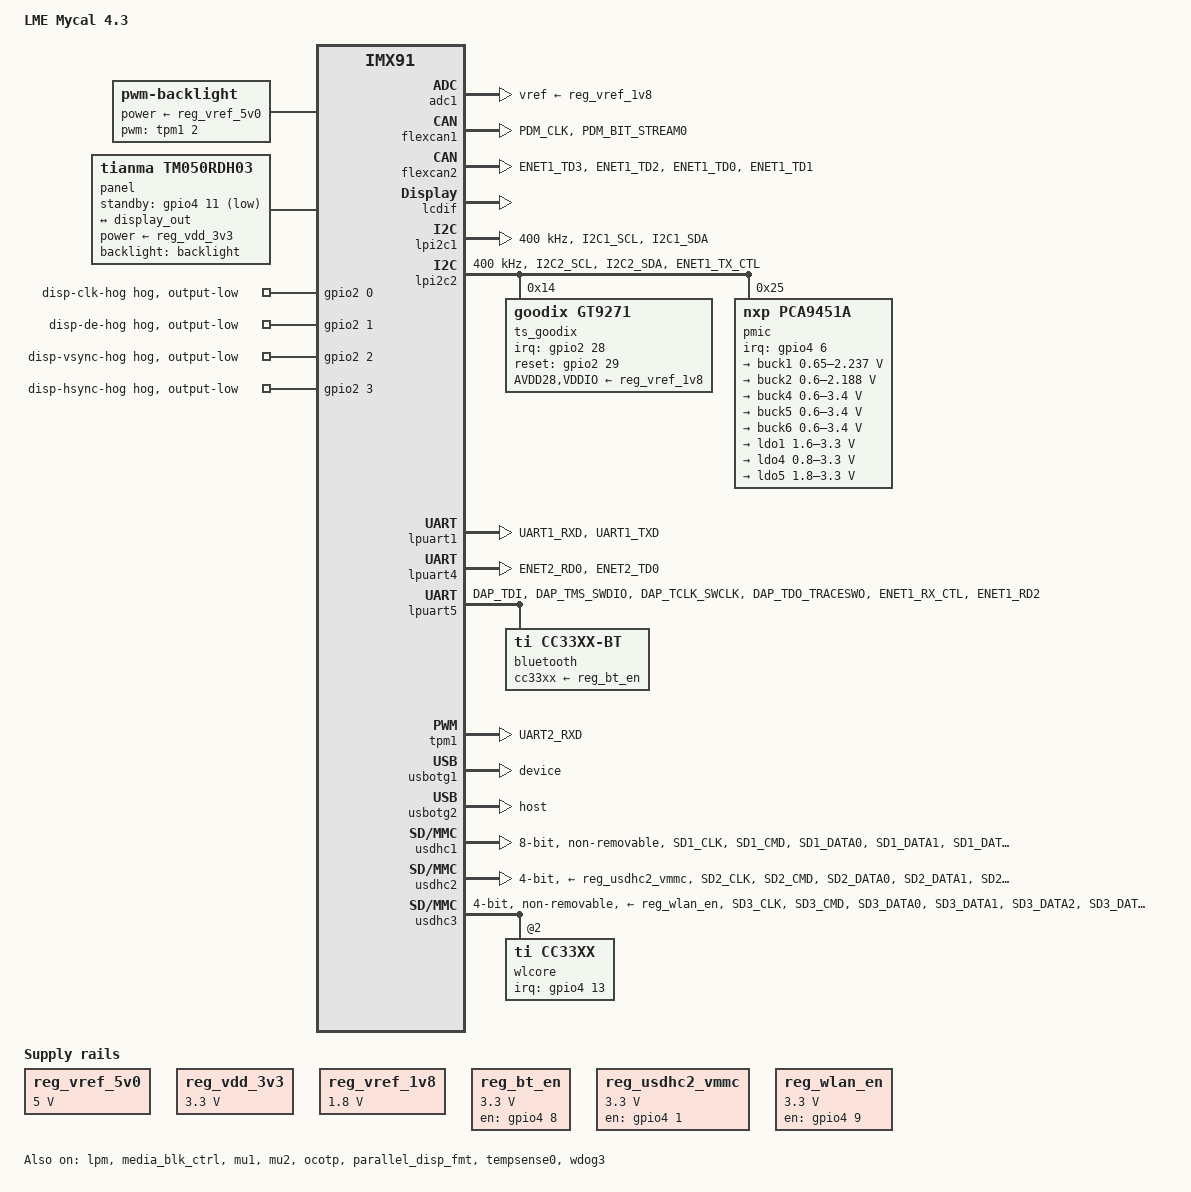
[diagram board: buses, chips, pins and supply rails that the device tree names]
// SPDX-License-Identifier: (GPL-2.0-or-later OR MIT)
/*
 * Copyright 2026 Ezurio LLC
 */

/dts-v1/;

#include <dt-bindings/usb/pd.h>
#include <dt-bindings/leds/common.h>
#include <dt-bindings/pwm/pwm.h>
#include "imx91.dtsi"

/ {
	model = "LME Mycal 4.3";
	compatible = "fsl,imx91";

	aliases {
		rtc0 = &bbnsm_rtc;
	};

	chosen {
		stdout-path = &lpuart1;
	};

	reserved-memory {
		#address-cells = <2>;
		#size-cells = <2>;
		ranges;

		linux,cma {
			compatible = "shared-dma-pool";
			reusable;
			alloc-ranges = <0 0x80000000 0 0x40000000>;
			size = <0 0x10000000>;
			linux,cma-default;
		};

		ele_reserved: ele-reserved@84120000 { /* under 512MB */
			compatible = "shared-dma-pool";
			reg = <0 0x84120000 0 0x100000>; /* 1MB Region */
			no-map;
		};
	};

	backlight: backlight {
		compatible = "pwm-backlight";
		pwms = <&tpm1 2 10000000 PWM_POLARITY_INVERTED>;	/* LCD1_BKLT_PWM 100Hz PWM */
		brightness-levels = <0 800 1000 3000 8000 16000 25000 40000 65535>;
		default-brightness-level = <8>;
		power-supply = <&reg_vref_5v0>;
	};

	panel {
		compatible = "tianma,tm050rdh03";
		backlight = <&backlight>;
		power-supply = <&reg_vdd_3v3>;
		pinctrl-names = "default";
		pinctrl-0 = <&pinctrl_lcd1_gpio>;
		standby-gpios = <&gpio4 11 GPIO_ACTIVE_LOW>;    /* LCD_RSTn */

		port {
			panel_in: endpoint {
				remote-endpoint = <&display_out>;
			};
		};
	};

	reg_vref_5v0: regulator-5v0 {
		compatible = "regulator-fixed";
		regulator-name = "VDD_5V0";
		regulator-min-microvolt = <5000000>;
		regulator-max-microvolt = <5000000>;
	};

	reg_vdd_3v3: regulator-vdd {
		compatible = "regulator-fixed";
		regulator-name = "VDD_3V3";
		regulator-min-microvolt = <3300000>;
		regulator-max-microvolt = <3300000>;
	};

	reg_vref_1v8: regulator-adc-vref {
		compatible = "regulator-fixed";
		regulator-name = "vref_1v8";
		regulator-min-microvolt = <1800000>;
		regulator-max-microvolt = <1800000>;
	};

	reg_bt_en: regulator-wlan-en {
		compatible = "regulator-fixed";
		regulator-name = "reg_bt_en";
		regulator-min-microvolt = <3300000>;
		regulator-max-microvolt = <3300000>;
		gpio = <&gpio4 8 GPIO_ACTIVE_HIGH>;
		startup-delay-us = <70000>;
		enable-active-high;
	};

	reg_usdhc2_vmmc: regulator-usdhc2 {
		compatible = "regulator-fixed";
		pinctrl-names = "default";
		pinctrl-0 = <&pinctrl_reg_usdhc2_vmmc>;
		regulator-name = "VSD_3V3";
		regulator-min-microvolt = <3300000>;
		regulator-max-microvolt = <3300000>;
		gpio = <&gpio4 1 GPIO_ACTIVE_HIGH>;
		off-on-delay-us = <12000>;
		enable-active-high;
	};

	reg_wlan_en: regulator-wlan-en {
		compatible = "regulator-fixed";
		pinctrl-names = "default";
		pinctrl-0 = <&pinctrl_reg_wlan_en>;
		regulator-name = "reg_wlan_en";
		regulator-min-microvolt = <3300000>;
		regulator-max-microvolt = <3300000>;
		gpio = <&gpio4 9 GPIO_ACTIVE_HIGH>; /* WL_EN */
		startup-delay-us = <70000>;
		enable-active-high;
	};
};

&adc1 {
	vref-supply = <&reg_vref_1v8>;
	status = "okay";
};

&ele_fw2 {
	memory-region = <&ele_reserved>;
};

&flexcan1 { /* CAN0 */
	pinctrl-names = "default";
	pinctrl-0 = <&pinctrl_can1>;
	status = "okay";
};

&flexcan2 { /* CAN1 / SWCAN */
	pinctrl-names = "default";
	pinctrl-0 = <&pinctrl_can2>, <&pinctrl_can2_gpio>;
	status = "okay";
};

&gpio1 {
	gpio-line-names = "", "", "", "", "",					/* 0-4 */
			"", "", "", "", "",					/* 5-9 */
			"VPP_EN", "", "", "", "",				/* 10-14 */
			"", "", "", "", "",					/* 15-19 */
			"", "", "", "", "",					/* 20-24 */
			"", "", "", "", "";					/* 25-29 */
};

&gpio2 {
	gpio-line-names = "", "", "", "", "",					/* 0-4 */
			"", "", "", "", "",					/* 5-9 */
			"", "", "", "", "",					/* 10-14 */
			"", "", "", "", "",					/* 15-19 */
			"", "", "", "", "",					/* 20-24 */
			"", "", "", "CTP_nINT", "CTP_RST";			/* 25-29 */

	/* avoid power leakage */
	disp-clk-hog {
		gpio-hog;
		gpios = <0 GPIO_ACTIVE_HIGH>;
		output-low;
	};

	disp-de-hog {
		gpio-hog;
		gpios = <1 GPIO_ACTIVE_HIGH>;
		output-low;
	};

	disp-vsync-hog {
		gpio-hog;
		gpios = <2 GPIO_ACTIVE_HIGH>;
		output-low;
	};

	disp-hsync-hog {
		gpio-hog;
		gpios = <3 GPIO_ACTIVE_HIGH>;
		output-low;
	};
};

&gpio4 {
	gpio-line-names = "", "SDIO_PWR_EN", "", "", "SWCAN_MODE1",		/* 0-4 */
			"SWCAN_MODE0", "PMIC_IRQ", "LCD_CS", "BT_EN", "WL_EN",	/* 5-9 */
			"CAN_UART_SEL", "LCD_RSTn", "BT_HOST_WAKE", "WIFI_SDIO_WAKE", "", /* 10-14 */
			"", "", "", "", "",					/* 15-19 */
			"", "", "", "", "",					/* 20-24 */
			"", "", "", "", "";					/* 25-29 */

};

&iomuxc {
	pinctrl-names = "default";
	pinctrl-0 = <&pinctrl_hog>;

	pinctrl_can1: can1grp {
		fsl,pins = <
			MX91_PAD_PDM_CLK__CAN1_TX			0x139e /* CAN0_TX */
			MX91_PAD_PDM_BIT_STREAM0__CAN1_RX		0x139e /* CAN0_RX */
		>;
	};

	pinctrl_can2: can2grp {
		fsl,pins = <
			MX91_PAD_ENET1_TD3__CAN2_TX			0x139e /* CAN1_TX */
			MX91_PAD_ENET1_TD2__CAN2_RX			0x139e /* CAN1_RX */
		>;
	};

	pinctrl_can2_gpio: can2grp {
		fsl,pins = <
			MX91_PAD_ENET1_TD0__GPIO4_IO5			0x31e /* SWCAN_MODE0 */
			MX91_PAD_ENET1_TD1__GPIO4_IO4			0x31e /* SWCAN_MODE1 */
		>;
	};

	pinctrl_hog: hoggrp {
		fsl,pins = <
			MX91_PAD_ENET1_RD0__GPIO4_IO10			0x31e /* CAN_UART_SEL */
			MX91_PAD_PDM_BIT_STREAM1__GPIO1_IO10		0x31e /* VPP_EN */
		>;
	};

	pinctrl_lcdif: lcdifgrp {
		fsl,pins = <
			MX91_PAD_GPIO_IO00__MEDIAMIX_DISP_CLK		0x31e
			MX91_PAD_GPIO_IO01__MEDIAMIX_DISP_DE		0x31e
			MX91_PAD_GPIO_IO02__MEDIAMIX_DISP_VSYNC		0x31e
			MX91_PAD_GPIO_IO03__MEDIAMIX_DISP_HSYNC		0x31e
			MX91_PAD_GPIO_IO04__MEDIAMIX_DISP_DATA0		0x31e
			MX91_PAD_GPIO_IO05__MEDIAMIX_DISP_DATA1		0x31e
			MX91_PAD_GPIO_IO06__MEDIAMIX_DISP_DATA2		0x31e
			MX91_PAD_GPIO_IO07__MEDIAMIX_DISP_DATA3		0x31e
			MX91_PAD_GPIO_IO08__MEDIAMIX_DISP_DATA4		0x31e
			MX91_PAD_GPIO_IO09__MEDIAMIX_DISP_DATA5		0x31e
			MX91_PAD_GPIO_IO10__MEDIAMIX_DISP_DATA6		0x31e
			MX91_PAD_GPIO_IO11__MEDIAMIX_DISP_DATA7		0x31e
			MX91_PAD_GPIO_IO12__MEDIAMIX_DISP_DATA8		0x31e
			MX91_PAD_GPIO_IO13__MEDIAMIX_DISP_DATA9		0x31e
			MX91_PAD_GPIO_IO14__MEDIAMIX_DISP_DATA10	0x31e
			MX91_PAD_GPIO_IO15__MEDIAMIX_DISP_DATA11	0x31e
			MX91_PAD_GPIO_IO16__MEDIAMIX_DISP_DATA12	0x31e
			MX91_PAD_GPIO_IO17__MEDIAMIX_DISP_DATA13	0x31e
			MX91_PAD_GPIO_IO18__MEDIAMIX_DISP_DATA14	0x31e
			MX91_PAD_GPIO_IO19__MEDIAMIX_DISP_DATA15	0x31e
			MX91_PAD_GPIO_IO20__MEDIAMIX_DISP_DATA16	0x31e
			MX91_PAD_GPIO_IO21__MEDIAMIX_DISP_DATA17	0x31e
			MX91_PAD_GPIO_IO22__MEDIAMIX_DISP_DATA18	0x31e
			MX91_PAD_GPIO_IO23__MEDIAMIX_DISP_DATA19	0x31e
			MX91_PAD_GPIO_IO24__MEDIAMIX_DISP_DATA20	0x31e
			MX91_PAD_GPIO_IO25__MEDIAMIX_DISP_DATA21	0x31e
			MX91_PAD_GPIO_IO26__MEDIAMIX_DISP_DATA22	0x31e
			MX91_PAD_GPIO_IO27__MEDIAMIX_DISP_DATA23	0x31e
		>;
	};

	pinctrl_lcdif_gpio: lcdifgpiogrp {
		fsl,pins = <
			MX91_PAD_GPIO_IO00__GPIO2_IO0			0x51e
			MX91_PAD_GPIO_IO01__GPIO2_IO1			0x51e
			MX91_PAD_GPIO_IO02__GPIO2_IO2			0x51e
			MX91_PAD_GPIO_IO03__GPIO2_IO3			0x51e
			MX91_PAD_GPIO_IO04__GPIO2_IO4			0x51e
			MX91_PAD_GPIO_IO05__GPIO2_IO5			0x51e
			MX91_PAD_GPIO_IO06__GPIO2_IO6			0x51e
			MX91_PAD_GPIO_IO07__GPIO2_IO7			0x51e
			MX91_PAD_GPIO_IO08__GPIO2_IO8			0x51e
			MX91_PAD_GPIO_IO09__GPIO2_IO9			0x51e
			MX91_PAD_GPIO_IO10__GPIO2_IO10			0x51e
			MX91_PAD_GPIO_IO11__GPIO2_IO11			0x51e
			MX91_PAD_GPIO_IO12__GPIO2_IO12			0x51e
			MX91_PAD_GPIO_IO13__GPIO2_IO13			0x51e
			MX91_PAD_GPIO_IO14__GPIO2_IO14			0x51e
			MX91_PAD_GPIO_IO15__GPIO2_IO15			0x51e
			MX91_PAD_GPIO_IO16__GPIO2_IO16			0x51e
			MX91_PAD_GPIO_IO17__GPIO2_IO17			0x51e
			MX91_PAD_GPIO_IO18__GPIO2_IO18			0x51e
			MX91_PAD_GPIO_IO19__GPIO2_IO19			0x51e
			MX91_PAD_GPIO_IO20__GPIO2_IO20			0x51e
			MX91_PAD_GPIO_IO21__GPIO2_IO21			0x51e
			MX91_PAD_GPIO_IO22__GPIO2_IO22			0x51e
			MX91_PAD_GPIO_IO23__GPIO2_IO23			0x51e
			MX91_PAD_GPIO_IO24__GPIO2_IO24			0x51e
			MX91_PAD_GPIO_IO25__GPIO2_IO25			0x51e
			MX91_PAD_GPIO_IO26__GPIO2_IO26			0x51e
			MX91_PAD_GPIO_IO27__GPIO2_IO27			0x51e
		>;
	};

	pinctrl_lcd1_gpio: lcd1gpiogrp {
		fsl,pins = <
			MX91_PAD_ENET1_RD1__GPIO4_IO11			0x31e /* LCD_RSTn */
			MX91_PAD_ENET1_TXC__GPIO4_IO7			0x31e /* LCD_CS / CS_ID1 */
		>;
	};

	pinctrl_lcd1_pwm: lcd1pwmgrp {
		fsl,pins = <
			MX91_PAD_UART2_RXD__TPM1_CH2			0x31e /* LCD1_BKLT_PWM */
		>;
	};

	pinctrl_lpi2c1: lpi2c1grp {
		fsl,pins = <
			MX91_PAD_I2C1_SCL__LPI2C1_SCL				0x40000b9e /* SCK_ID3 */
			MX91_PAD_I2C1_SDA__LPI2C1_SDA				0x40000b9e /* SDIN_ID2 */
		>;
	};

	pinctrl_lpi2c2: lpi2c2grp {
		fsl,pins = <
			MX91_PAD_I2C2_SCL__LPI2C2_SCL			0x40000b9e
			MX91_PAD_I2C2_SDA__LPI2C2_SDA			0x40000b9e
			MX91_PAD_ENET1_TX_CTL__GPIO4_IO6		0x31e
		>;
	};

	pinctrl_reg_usdhc2_vmmc: regusdhc2vmmcgrp {
		fsl,pins = <
			MX91_PAD_ENET1_MDIO__GPIO4_IO1			0x31e /* SDIO_PWR_EN */
		>;
	};

	pinctrl_reg_wlan_en: regwlanengrp {
		fsl,pins = <
			MX91_PAD_ENET1_RXC__GPIO4_IO9			0x31e /* WL_EN */
		>;
	};

	pinctrl_ts: tsgrp {
		fsl,pins = <
			MX91_PAD_GPIO_IO28__GPIO2_IO28			0x31e /* CTP_nINT */
			MX91_PAD_GPIO_IO29__GPIO2_IO29			0x31e /* CTP_RST */
		>;
	};

	pinctrl_uart1: uart1grp {
		fsl,pins = <
			MX91_PAD_UART1_RXD__LPUART1_RX			0x31e
			MX91_PAD_UART1_TXD__LPUART1_TX			0x31e
		>;
	};

	pinctrl_uart4: uart4grp {
		fsl,pins = <
			MX91_PAD_ENET2_RD0__LPUART4_RX			0x31e
			MX91_PAD_ENET2_TD0__LPUART4_TX			0x31e
		>;
	};

	pinctrl_uart5: uart5grp {
		fsl,pins = <
			MX91_PAD_DAP_TDI__LPUART5_RX			0x31e
			MX91_PAD_DAP_TMS_SWDIO__LPUART5_RTS_B		0x31e
			MX91_PAD_DAP_TCLK_SWCLK__LPUART5_CTS_B		0x31e
			MX91_PAD_DAP_TDO_TRACESWO__LPUART5_TX		0x31e

			MX91_PAD_ENET1_RX_CTL__GPIO4_IO8		0x31e
			MX91_PAD_ENET1_RD2__GPIO4_IO12			0x31e
		>;
	};

	pinctrl_usdhc1: usdhc1grp {
		fsl,pins = <
			MX91_PAD_SD1_CLK__USDHC1_CLK			0x1582
			MX91_PAD_SD1_CMD__USDHC1_CMD			0x1382
			MX91_PAD_SD1_DATA0__USDHC1_DATA0		0x1382
			MX91_PAD_SD1_DATA1__USDHC1_DATA1		0x1382
			MX91_PAD_SD1_DATA2__USDHC1_DATA2		0x1382
			MX91_PAD_SD1_DATA3__USDHC1_DATA3		0x1382
			MX91_PAD_SD1_DATA4__USDHC1_DATA4		0x1382
			MX91_PAD_SD1_DATA5__USDHC1_DATA5		0x1382
			MX91_PAD_SD1_DATA6__USDHC1_DATA6		0x1382
			MX91_PAD_SD1_DATA7__USDHC1_DATA7		0x1382
			MX91_PAD_SD1_STROBE__USDHC1_STROBE		0x1582
		>;
	};

	pinctrl_usdhc1_100mhz: usdhc1-100mhzgrp {
		fsl,pins = <
			MX91_PAD_SD1_CLK__USDHC1_CLK			0x158e
			MX91_PAD_SD1_CMD__USDHC1_CMD			0x138e
			MX91_PAD_SD1_DATA0__USDHC1_DATA0		0x138e
			MX91_PAD_SD1_DATA1__USDHC1_DATA1		0x138e
			MX91_PAD_SD1_DATA2__USDHC1_DATA2		0x138e
			MX91_PAD_SD1_DATA3__USDHC1_DATA3		0x138e
			MX91_PAD_SD1_DATA4__USDHC1_DATA4		0x138e
			MX91_PAD_SD1_DATA5__USDHC1_DATA5		0x138e
			MX91_PAD_SD1_DATA6__USDHC1_DATA6		0x138e
			MX91_PAD_SD1_DATA7__USDHC1_DATA7		0x138e
			MX91_PAD_SD1_STROBE__USDHC1_STROBE		0x158e
		>;
	};

	pinctrl_usdhc1_200mhz: usdhc1-200mhzgrp {
		fsl,pins = <
			MX91_PAD_SD1_CLK__USDHC1_CLK			0x15fe
			MX91_PAD_SD1_CMD__USDHC1_CMD			0x13fe
			MX91_PAD_SD1_DATA0__USDHC1_DATA0		0x13fe
			MX91_PAD_SD1_DATA1__USDHC1_DATA1		0x13fe
			MX91_PAD_SD1_DATA2__USDHC1_DATA2		0x13fe
			MX91_PAD_SD1_DATA3__USDHC1_DATA3		0x13fe
			MX91_PAD_SD1_DATA4__USDHC1_DATA4		0x13fe
			MX91_PAD_SD1_DATA5__USDHC1_DATA5		0x13fe
			MX91_PAD_SD1_DATA6__USDHC1_DATA6		0x13fe
			MX91_PAD_SD1_DATA7__USDHC1_DATA7		0x13fe
			MX91_PAD_SD1_STROBE__USDHC1_STROBE		0x15fe
		>;
	};

	pinctrl_usdhc2_gpio: usdhc2gpiogrp {
		fsl,pins = <
			MX91_PAD_SD2_CD_B__GPIO3_IO0			0x31e /* SD2_CD */
		>;
	};

	pinctrl_usdhc2: usdhc2grp {
		fsl,pins = <
			MX91_PAD_SD2_CLK__USDHC2_CLK			0x1582
			MX91_PAD_SD2_CMD__USDHC2_CMD			0x1382
			MX91_PAD_SD2_DATA0__USDHC2_DATA0		0x1382
			MX91_PAD_SD2_DATA1__USDHC2_DATA1		0x1382
			MX91_PAD_SD2_DATA2__USDHC2_DATA2		0x1382
			MX91_PAD_SD2_DATA3__USDHC2_DATA3		0x1382
			MX91_PAD_SD2_VSELECT__USDHC2_VSELECT		0x51e
		>;
	};

	pinctrl_usdhc2_100mhz: usdhc2-100mhzgrp {
		fsl,pins = <
			MX91_PAD_SD2_CLK__USDHC2_CLK			0x158e
			MX91_PAD_SD2_CMD__USDHC2_CMD			0x138e
			MX91_PAD_SD2_DATA0__USDHC2_DATA0		0x138e
			MX91_PAD_SD2_DATA1__USDHC2_DATA1		0x138e
			MX91_PAD_SD2_DATA2__USDHC2_DATA2		0x138e
			MX91_PAD_SD2_DATA3__USDHC2_DATA3		0x138e
			MX91_PAD_SD2_VSELECT__USDHC2_VSELECT		0x51e
		>;
	};

	pinctrl_usdhc2_200mhz: usdhc2-200mhzgrp {
		fsl,pins = <
			MX91_PAD_SD2_CLK__USDHC2_CLK			0x15fe
			MX91_PAD_SD2_CMD__USDHC2_CMD			0x13fe
			MX91_PAD_SD2_DATA0__USDHC2_DATA0		0x13fe
			MX91_PAD_SD2_DATA1__USDHC2_DATA1		0x13fe
			MX91_PAD_SD2_DATA2__USDHC2_DATA2		0x13fe
			MX91_PAD_SD2_DATA3__USDHC2_DATA3		0x13fe
			MX91_PAD_SD2_VSELECT__USDHC2_VSELECT		0x51e
		>;
	};

	pinctrl_wlcore: wlcoregrp {
		fsl,pins = <
			MX91_PAD_ENET1_RD3__GPIO4_IO13			0x31e /* WIFI_SDIO_WAKE */
		>;
	};

	pinctrl_usdhc3: usdhc3grp {
		fsl,pins = <
			MX91_PAD_SD3_CLK__USDHC3_CLK			0x1582
			MX91_PAD_SD3_CMD__USDHC3_CMD			0x1382
			MX91_PAD_SD3_DATA0__USDHC3_DATA0		0x1382
			MX91_PAD_SD3_DATA1__USDHC3_DATA1		0x1382
			MX91_PAD_SD3_DATA2__USDHC3_DATA2		0x1382
			MX91_PAD_SD3_DATA3__USDHC3_DATA3		0x1382
		>;
	};

	pinctrl_usdhc3_100mhz: usdhc3-100mhzgrp {
		fsl,pins = <
			MX91_PAD_SD3_CLK__USDHC3_CLK			0x158e
			MX91_PAD_SD3_CMD__USDHC3_CMD			0x138e
			MX91_PAD_SD3_DATA0__USDHC3_DATA0		0x138e
			MX91_PAD_SD3_DATA1__USDHC3_DATA1		0x138e
			MX91_PAD_SD3_DATA2__USDHC3_DATA2		0x138e
			MX91_PAD_SD3_DATA3__USDHC3_DATA3		0x138e
		>;
	};

	pinctrl_usdhc3_200mhz: usdhc3-200mhzgrp {
		fsl,pins = <
			MX91_PAD_SD3_CLK__USDHC3_CLK			0x15fe
			MX91_PAD_SD3_CMD__USDHC3_CMD			0x13fe
			MX91_PAD_SD3_DATA0__USDHC3_DATA0		0x13fe
			MX91_PAD_SD3_DATA1__USDHC3_DATA1		0x13fe
			MX91_PAD_SD3_DATA2__USDHC3_DATA2		0x13fe
			MX91_PAD_SD3_DATA3__USDHC3_DATA3		0x13fe
		>;
	};
};

&lcdif {
	assigned-clock-rates = <300000000>, <30000000>, <333333334>, <133333333>;
	status = "okay";
};

&lpi2c1 { /* LCD I2C */
	#address-cells = <1>;
	#size-cells = <0>;
	clock-frequency = <400000>;
	pinctrl-names = "default", "sleep";
	pinctrl-0 = <&pinctrl_lpi2c1>;
	pinctrl-1 = <&pinctrl_lpi2c1>;
	status = "okay";
};

&lpi2c2 {
	#address-cells = <1>;
	#size-cells = <0>;
	clock-frequency = <400000>;
	pinctrl-names = "default", "sleep";
	pinctrl-0 = <&pinctrl_lpi2c2>;
	pinctrl-1 = <&pinctrl_lpi2c2>;
	status = "okay";

	/* TODO CTP / Touch */
	/* 0x5d or 0x14 */
	ts_goodix: touchscreen@14 {
		compatible = "goodix,gt9271";
		pinctrl-names = "default";
		pinctrl-0 = <&pinctrl_ts>;
		AVDD28-supply = <&reg_vref_1v8>; /* Real supply is on the display */
		VDDIO-supply = <&reg_vref_1v8>;
		esd-recovery-timeout-ms = <2000>;
		interrupts-extended = <&gpio2 28 IRQ_TYPE_EDGE_RISING>;
		irq-gpios = <&gpio2 28 GPIO_ACTIVE_HIGH>; /* CTP_nINT */
		reg = <0x14>;
		reset-gpios = <&gpio2 29 GPIO_ACTIVE_HIGH>; /* CTP_RST */
		status = "okay";
	};

	pmic@25 { /* PMIC */
		compatible = "nxp,pca9451a";
		reg = <0x25>;
		interrupt-parent = <&gpio4>;
		interrupts = <6 IRQ_TYPE_EDGE_FALLING>;

		regulators {
			buck1: BUCK1 {
				regulator-name = "BUCK1";
				regulator-min-microvolt = <650000>;
				regulator-max-microvolt = <2237500>;
				regulator-boot-on;
				regulator-always-on;
				regulator-ramp-delay = <3125>;
			};

			buck2: BUCK2 {
				regulator-name = "BUCK2";
				regulator-min-microvolt = <600000>;
				regulator-max-microvolt = <2187500>;
				regulator-boot-on;
				regulator-always-on;
				regulator-ramp-delay = <3125>;
			};

			buck4: BUCK4{
				regulator-name = "BUCK4";
				regulator-min-microvolt = <600000>;
				regulator-max-microvolt = <3400000>;
				regulator-boot-on;
				regulator-always-on;
			};

			buck5: BUCK5{
				regulator-name = "BUCK5";
				regulator-min-microvolt = <600000>;
				regulator-max-microvolt = <3400000>;
				regulator-boot-on;
				regulator-always-on;
			};

			buck6: BUCK6 {
				regulator-name = "BUCK6";
				regulator-min-microvolt = <600000>;
				regulator-max-microvolt = <3400000>;
				regulator-boot-on;
				regulator-always-on;
			};

			ldo1: LDO1 {
				regulator-name = "LDO1";
				regulator-min-microvolt = <1600000>;
				regulator-max-microvolt = <3300000>;
				regulator-boot-on;
				regulator-always-on;
			};

			ldo4: LDO4 {
				regulator-name = "LDO4";
				regulator-min-microvolt = <800000>;
				regulator-max-microvolt = <3300000>;
				regulator-boot-on;
				regulator-always-on;
			};

			ldo5: LDO5 {
				regulator-name = "LDO5";
				regulator-min-microvolt = <1800000>;
				regulator-max-microvolt = <3300000>;
				regulator-boot-on;
				regulator-always-on;
			};
		};
	};
};

&lpm {
	soc-supply = <&buck1>;
	status = "okay";
};

&lpuart1 { /* console / debug */
	pinctrl-names = "default";
	pinctrl-0 = <&pinctrl_uart1>;
	status = "okay";
};

&lpuart4 { /* UART on CAN */
	pinctrl-names = "default";
	pinctrl-0 = <&pinctrl_uart4>;
	status = "okay";
};

&lpuart5 {
	/* BT */
	pinctrl-names = "default";
	pinctrl-0 = <&pinctrl_uart5>;
	interrupts-extended = <&gpio4 12 IRQ_TYPE_EDGE_FALLING>; /* BT_HOST_WAKE */
	uart-has-rtscts;
	status = "okay";

	bluetooth {
		compatible = "ti,cc33xx-bt";
		cc33xx-supply = <&reg_bt_en>;
		max-speed = <115200>;
	};
};

&media_blk_ctrl {
	status = "okay";
};

&mu1 {
	status = "okay";
};

&mu2 {
	status = "okay";
};

&ocotp {
	status = "okay";
};

&parallel_disp_fmt {
	pinctrl-names = "default", "gpio";
	pinctrl-0 = <&pinctrl_lcdif>;
	pinctrl-1 = <&pinctrl_lcdif_gpio>;
	fsl,interface-pix-fmt = "rgb888";
	status = "okay";

	ports {
		port@1 {
			reg = <1>;

			display_out: endpoint {
				remote-endpoint = <&panel_in>;
			};
		};
	};
};

&tempsense0 {
	status = "okay";
};

&tpm1 { /* LCD1_BKLT_PWM */
	pinctrl-names = "default";
	pinctrl-0 = <&pinctrl_lcd1_pwm>;
	status = "okay";
};

&usbotg1 { /* USB-C Device */
	dr_mode = "device";
	samsung,picophy-pre-emp-curr-control = <3>;
	samsung,picophy-dc-vol-level-adjust = <7>;
	status = "okay";
};

&usbotg2 { /* USB-A Host */
	dr_mode = "host";
	samsung,picophy-pre-emp-curr-control = <3>;
	samsung,picophy-dc-vol-level-adjust = <7>;
	status = "okay";
};

&usdhc1 { /* eMMC */
	pinctrl-names = "default", "state_100mhz", "state_200mhz";
	pinctrl-0 = <&pinctrl_usdhc1>;
	pinctrl-1 = <&pinctrl_usdhc1_100mhz>;
	pinctrl-2 = <&pinctrl_usdhc1_200mhz>;
	bus-width = <8>;
	non-removable;
	status = "okay";
};

&usdhc2 { /* SDCARD */
	pinctrl-names = "default", "state_100mhz", "state_200mhz";
	pinctrl-0 = <&pinctrl_usdhc2>, <&pinctrl_usdhc2_gpio>;
	pinctrl-1 = <&pinctrl_usdhc2_100mhz>, <&pinctrl_usdhc2_gpio>;
	pinctrl-2 = <&pinctrl_usdhc2_200mhz>, <&pinctrl_usdhc2_gpio>;
	cd-gpios = <&gpio3 00 GPIO_ACTIVE_LOW>; /* SD2_CD */
	fsl,cd-gpio-wakeup-disable;
	vmmc-supply = <&reg_usdhc2_vmmc>;
	bus-width = <4>;
	no-sdio;
	no-mmc;
	status = "okay";
};

&usdhc3 { /* WiFi / Bluetooth */
	pinctrl-names = "default", "state_100mhz", "state_200mhz";
	pinctrl-0 = <&pinctrl_usdhc3>;
	pinctrl-1 = <&pinctrl_usdhc3_100mhz>;
	pinctrl-2 = <&pinctrl_usdhc3_200mhz>;
	max-frequency = <50000000>;
	bus-width = <4>;
	cap-power-off-card;
	keep-power-in-suspend;
	non-removable;
	wakeup-source;
	pm-ignore-notify;
	voltage-ranges = <1800 1800>;
	fsl,tuning-start-tap = <20>;
	fsl,tuning-step= <2>;
	vmmc-supply = <&reg_wlan_en>;
	vqmmc-1-8-v;
	vqmmc-supply = <&reg_vref_1v8>;
	status = "okay";
	#address-cells = <1>;
	#size-cells = <0>;

	wlcore: wlcore@2 {
		compatible = "ti,cc33xx";
		pinctrl-names = "default";
		pinctrl-0 = <&pinctrl_wlcore>;
		/* To use in-band SDIO interrupts remove the following line */
		interrupts-extended = <&gpio4 13 IRQ_TYPE_EDGE_RISING>; /* WIFI_SDIO_WAKE */
		reg = <2>;
	};
};

&wdog3 {
	status = "okay";
};
